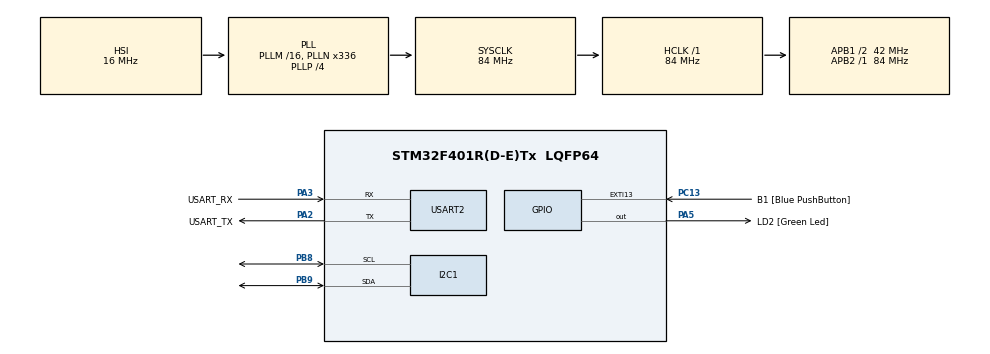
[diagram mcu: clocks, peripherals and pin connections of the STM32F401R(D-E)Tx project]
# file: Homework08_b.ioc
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Dma.I2C1_RX.1.Direction=DMA_PERIPH_TO_MEMORY
Dma.I2C1_RX.1.FIFOMode=DMA_FIFOMODE_DISABLE
Dma.I2C1_RX.1.Instance=DMA1_Stream0
Dma.I2C1_RX.1.MemDataAlignment=DMA_MDATAALIGN_BYTE
Dma.I2C1_RX.1.MemInc=DMA_MINC_ENABLE
Dma.I2C1_RX.1.Mode=DMA_NORMAL
Dma.I2C1_RX.1.PeriphDataAlignment=DMA_PDATAALIGN_BYTE
Dma.I2C1_RX.1.PeriphInc=DMA_PINC_DISABLE
Dma.I2C1_RX.1.Priority=DMA_PRIORITY_LOW
Dma.I2C1_TX.2.Direction=DMA_MEMORY_TO_PERIPH
Dma.I2C1_TX.2.FIFOMode=DMA_FIFOMODE_DISABLE
Dma.I2C1_TX.2.Instance=DMA1_Stream7
Dma.I2C1_TX.2.MemDataAlignment=DMA_MDATAALIGN_BYTE
Dma.I2C1_TX.2.MemInc=DMA_MINC_ENABLE
Dma.I2C1_TX.2.Mode=DMA_NORMAL
Dma.I2C1_TX.2.PeriphDataAlignment=DMA_PDATAALIGN_BYTE
Dma.I2C1_TX.2.PeriphInc=DMA_PINC_DISABLE
Dma.I2C1_TX.2.Priority=DMA_PRIORITY_LOW
Dma.Request0=USART2_TX
Dma.Request1=I2C1_RX
Dma.Request2=I2C1_TX
Dma.USART2_TX.0.Direction=DMA_MEMORY_TO_PERIPH
Dma.USART2_TX.0.FIFOMode=DMA_FIFOMODE_DISABLE
Dma.USART2_TX.0.Instance=DMA1_Stream6
Dma.USART2_TX.0.MemDataAlignment=DMA_MDATAALIGN_BYTE
Dma.USART2_TX.0.MemInc=DMA_MINC_ENABLE
Dma.USART2_TX.0.Mode=DMA_NORMAL
Dma.USART2_TX.0.PeriphDataAlignment=DMA_PDATAALIGN_BYTE
Dma.USART2_TX.0.PeriphInc=DMA_PINC_DISABLE
Dma.USART2_TX.0.Priority=DMA_PRIORITY_LOW
Mcu.Family=STM32F4
Mcu.Name=STM32F401R(D-E)Tx
Mcu.Package=LQFP64
NVIC.DMA1_Stream0_IRQn=true\:0\:0\:false\:false\:true\:false\:true\:true
NVIC.DMA1_Stream6_IRQn=true\:0\:0\:false\:false\:true\:false\:true\:true
NVIC.DMA1_Stream7_IRQn=true\:0\:0\:false\:false\:true\:false\:true\:true
NVIC.I2C1_EV_IRQn=true\:0\:0\:false\:false\:true\:true\:true\:true
NVIC.PriorityGroup=NVIC_PRIORITYGROUP_4
NVIC.TIM3_IRQn=true\:0\:0\:false\:false\:true\:true\:true\:true
NVIC.USART2_IRQn=true\:0\:0\:false\:false\:true\:true\:true\:true
PA13.GPIO_Label=TMS
PA13.Mode=Trace_Asynchronous_SW
PA13.Signal=SYS_JTMS-SWDIO
PA14.GPIO_Label=TCK
PA14.Mode=Trace_Asynchronous_SW
PA14.Signal=SYS_JTCK-SWCLK
PA2.GPIO_Label=USART_TX
PA2.GPIO_Mode=GPIO_MODE_AF_PP
PA2.GPIO_PuPd=GPIO_NOPULL
PA2.GPIO_Speed=GPIO_SPEED_FREQ_LOW
PA2.Mode=Asynchronous
PA2.Signal=USART2_TX
PA3.GPIO_Label=USART_RX
PA3.GPIO_Mode=GPIO_MODE_AF_PP
PA3.GPIO_PuPd=GPIO_NOPULL
PA3.GPIO_Speed=GPIO_SPEED_FREQ_LOW
PA3.Mode=Asynchronous
PA3.Signal=USART2_RX
PA5.GPIO_Label=LD2 [Green Led]
PA5.GPIO_Mode=GPIO_MODE_OUTPUT_PP
PA5.GPIO_PuPd=GPIO_NOPULL
PA5.GPIO_Speed=GPIO_SPEED_FREQ_LOW
PA5.Signal=GPIO_Output
PB3.GPIO_Label=SWO
PB3.Mode=Trace_Asynchronous_SW
PB3.Signal=SYS_JTDO-SWO
PB8.Mode=I2C
PB8.Signal=I2C1_SCL
PB9.Mode=I2C
PB9.Signal=I2C1_SDA
PC13-ANTI_TAMP.GPIO_Label=B1 [Blue PushButton]
PC13-ANTI_TAMP.GPIO_ModeDefaultEXTI=GPIO_MODE_IT_FALLING
PC13-ANTI_TAMP.GPIO_PuPd=GPIO_NOPULL
PC13-ANTI_TAMP.Signal=GPXTI13
PC14-OSC32_IN.Mode=LSE-External-Oscillator
PC14-OSC32_IN.Signal=RCC_OSC32_IN
PC15-OSC32_OUT.Mode=LSE-External-Oscillator
PC15-OSC32_OUT.Signal=RCC_OSC32_OUT
PH0\ -\ OSC_IN.Mode=HSE-External-Clock-Source
PH0\ -\ OSC_IN.Signal=RCC_OSC_IN
PH1\ -\ OSC_OUT.Mode=HSE-External-Clock-Source
PH1\ -\ OSC_OUT.Signal=RCC_OSC_OUT
ProjectManager.HeapSize=0x200
ProjectManager.StackSize=0x400
ProjectManager.TargetToolchain=STM32CubeIDE
RCC.48MHZClocksFreq_Value=48000000
RCC.AHBFreq_Value=84000000
RCC.APB1CLKDivider=RCC_HCLK_DIV2
RCC.APB1Freq_Value=42000000
RCC.APB1TimFreq_Value=84000000
RCC.APB2Freq_Value=84000000
RCC.APB2TimFreq_Value=84000000
RCC.CortexFreq_Value=84000000
RCC.HCLKFreq_Value=84000000
RCC.HSE_VALUE=8000000
RCC.HSI_VALUE=16000000
RCC.PLLN=336
RCC.PLLP=RCC_PLLP_DIV4
RCC.PLLQ=7
RCC.SYSCLKFreq_VALUE=84000000
RCC.SYSCLKSource=RCC_SYSCLKSOURCE_PLLCLK
RCC.VCOOutputFreq_Value=336000000
TIM3.Period=9999
TIM3.Prescaler=8399
TIM3.TIM_MasterOutputTrigger=TIM_TRGO_UPDATE
USART2.VirtualMode=VM_ASYNC
VP_TIM3_VS_ClockSourceINT.Mode=Internal
board=NUCLEO-F401RE

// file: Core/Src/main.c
/* USER CODE BEGIN Header */
/**
  ******************************************************************************
  * @file           : main.c
  * @brief          : Main program body
  ******************************************************************************
  * @attention
  *
  * Copyright (c) 2025 STMicroelectronics.
  * All rights reserved.
  *
  * This software is licensed under terms that can be found in the LICENSE file
  * in the root directory of this software component.
  * If no LICENSE file comes with this software, it is provided AS-IS.
  *
  ******************************************************************************
  */
/* USER CODE END Header */
#include "main.h"

/* USER CODE BEGIN Includes */
#include <stdio.h>
/* USER CODE END Includes */

I2C_HandleTypeDef hi2c1;
DMA_HandleTypeDef hdma_i2c1_rx;
DMA_HandleTypeDef hdma_i2c1_tx;

TIM_HandleTypeDef htim3;

UART_HandleTypeDef huart2;
DMA_HandleTypeDef hdma_usart2_tx;

/* USER CODE BEGIN PV */
struct {
  int8_t x, _x;
  int8_t y, _y;
  int8_t z;
} coord = { 0 };
uint8_t ADDR;

uint8_t ADDR_LIS2DE = 0b01010000;
uint8_t ADDR_LIS2DW = 0b00110000;

// SEE DATASHEET FOR DETAILS
// reg addr, 1 Hz +  XYZ enabled
uint8_t CTRL_REG1[] = {0x20, 0b00010111};
// reg addr, no HPF
uint8_t CTRL_REG2[] = {0x21, 0b00000000};
// reg addr, continuous update + 2g FSR + self test disabled
uint8_t CTRL_REG4[] = {0x23, 0b00000000};

// set base reg + add autoincrement
uint8_t OUT_BASE_ADD_AUTOINCREMENT = 0x29 | (1<<7);

uint8_t OUT_X_ADD = 0x29;
uint8_t OUT_Y_ADD = 0x2B;
uint8_t OUT_Z_ADD = 0x2D;
/* USER CODE END PV */

void SystemClock_Config(void);
static void MX_GPIO_Init(void);
static void MX_DMA_Init(void);
static void MX_USART2_UART_Init(void);
static void MX_I2C1_Init(void);
static void MX_TIM3_Init(void);

/* USER CODE BEGIN 0 */
void HAL_TIM_PeriodElapsedCallback(TIM_HandleTypeDef *htim){
	HAL_I2C_Master_Receive_DMA(&hi2c1, ADDR + 1, (uint8_t *) &coord, sizeof(coord));
}

void HAL_I2C_MasterRxCpltCallback(I2C_HandleTypeDef *hi2c){
	char buf[128] = {0};
	int len = snprintf(buf, sizeof(buf),
				"x: %+.2f g\r\ny: %+.2f g\r\nz: %+.2f g\r\n\r\n",
				coord.x/64.0, coord.y/64.0, coord.z/64.0); // sensitivity at 2g is (1/64=15.6 mg/digit)

	HAL_UART_Transmit_DMA(&huart2, (uint8_t *)buf, len);
}
/* USER CODE END 0 */

int main(void)
{

  /* MCU Configuration--------------------------------------------------------*/

  /* Reset of all peripherals, Initializes the Flash interface and the Systick. */
  HAL_Init();

  /* Configure the system clock */
  SystemClock_Config();

  /* Initialize all configured peripherals */
  MX_GPIO_Init();
  MX_DMA_Init();
  MX_USART2_UART_Init();
  MX_I2C1_Init();
  MX_TIM3_Init();
  /* USER CODE BEGIN 2 */
  // detect sensor
  if (HAL_I2C_Master_Transmit(&hi2c1, ADDR_LIS2DE, CTRL_REG1, sizeof(CTRL_REG1), 10) == HAL_OK) {
	ADDR = ADDR_LIS2DE;
	uint8_t buf[] = "LIS2DE detected\r\n";
	HAL_UART_Transmit_DMA(&huart2, buf, sizeof(buf));
  } else if (HAL_I2C_Master_Transmit(&hi2c1, ADDR_LIS2DW, CTRL_REG1, sizeof(CTRL_REG1), 10) == HAL_OK) {
	ADDR = ADDR_LIS2DW;
	uint8_t buf[] = "LIS2DW detected\r\n";
	HAL_UART_Transmit_DMA(&huart2, buf, sizeof(buf));
  } else {
	uint8_t buf[] = "Error\r\n";
	HAL_UART_Transmit_DMA(&huart2, buf, sizeof(buf));
  }

  // configure the other registers
  HAL_I2C_Master_Transmit(&hi2c1, ADDR, CTRL_REG2, sizeof(CTRL_REG2), 10);
  HAL_I2C_Master_Transmit(&hi2c1, ADDR, CTRL_REG4, sizeof(CTRL_REG4), 10);

  // send start address
  HAL_I2C_Master_Transmit_DMA(&hi2c1, ADDR, &OUT_BASE_ADD_AUTOINCREMENT, 1);

  HAL_TIM_Base_Start_IT(&htim3);
  /* USER CODE END 2 */

  /* Infinite loop */
  while (1)
  {

  }
}

void SystemClock_Config(void)
{
  RCC_OscInitTypeDef RCC_OscInitStruct = {0};
  RCC_ClkInitTypeDef RCC_ClkInitStruct = {0};

  /** Configure the main internal regulator output voltage
  */
  __HAL_RCC_PWR_CLK_ENABLE();
  __HAL_PWR_VOLTAGESCALING_CONFIG(PWR_REGULATOR_VOLTAGE_SCALE2);

  /** Initializes the RCC Oscillators according to the specified parameters
  * in the RCC_OscInitTypeDef structure.
  */
  RCC_OscInitStruct.OscillatorType = RCC_OSCILLATORTYPE_HSI;
  RCC_OscInitStruct.HSIState = RCC_HSI_ON;
  RCC_OscInitStruct.HSICalibrationValue = RCC_HSICALIBRATION_DEFAULT;
  RCC_OscInitStruct.PLL.PLLState = RCC_PLL_ON;
  RCC_OscInitStruct.PLL.PLLSource = RCC_PLLSOURCE_HSI;
  RCC_OscInitStruct.PLL.PLLM = 16;
  RCC_OscInitStruct.PLL.PLLN = 336;
  RCC_OscInitStruct.PLL.PLLP = RCC_PLLP_DIV4;
  RCC_OscInitStruct.PLL.PLLQ = 7;
  if (HAL_RCC_OscConfig(&RCC_OscInitStruct) != HAL_OK)
  {
    Error_Handler();
  }

  /** Initializes the CPU, AHB and APB buses clocks
  */
  RCC_ClkInitStruct.ClockType = RCC_CLOCKTYPE_HCLK|RCC_CLOCKTYPE_SYSCLK
                              |RCC_CLOCKTYPE_PCLK1|RCC_CLOCKTYPE_PCLK2;
  RCC_ClkInitStruct.SYSCLKSource = RCC_SYSCLKSOURCE_PLLCLK;
  RCC_ClkInitStruct.AHBCLKDivider = RCC_SYSCLK_DIV1;
  RCC_ClkInitStruct.APB1CLKDivider = RCC_HCLK_DIV2;
  RCC_ClkInitStruct.APB2CLKDivider = RCC_HCLK_DIV1;

  if (HAL_RCC_ClockConfig(&RCC_ClkInitStruct, FLASH_LATENCY_2) != HAL_OK)
  {
    Error_Handler();
  }
}

static void MX_I2C1_Init(void)
{

  hi2c1.Instance = I2C1;
  hi2c1.Init.ClockSpeed = 100000;
  hi2c1.Init.DutyCycle = I2C_DUTYCYCLE_2;
  hi2c1.Init.OwnAddress1 = 0;
  hi2c1.Init.AddressingMode = I2C_ADDRESSINGMODE_7BIT;
  hi2c1.Init.DualAddressMode = I2C_DUALADDRESS_DISABLE;
  hi2c1.Init.OwnAddress2 = 0;
  hi2c1.Init.GeneralCallMode = I2C_GENERALCALL_DISABLE;
  hi2c1.Init.NoStretchMode = I2C_NOSTRETCH_DISABLE;
  if (HAL_I2C_Init(&hi2c1) != HAL_OK)
  {
    Error_Handler();
  }

}

static void MX_TIM3_Init(void)
{

  TIM_ClockConfigTypeDef sClockSourceConfig = {0};
  TIM_MasterConfigTypeDef sMasterConfig = {0};

  htim3.Instance = TIM3;
  htim3.Init.Prescaler = 8399;
  htim3.Init.CounterMode = TIM_COUNTERMODE_UP;
  htim3.Init.Period = 9999;
  htim3.Init.ClockDivision = TIM_CLOCKDIVISION_DIV1;
  htim3.Init.AutoReloadPreload = TIM_AUTORELOAD_PRELOAD_DISABLE;
  if (HAL_TIM_Base_Init(&htim3) != HAL_OK)
  {
    Error_Handler();
  }
  sClockSourceConfig.ClockSource = TIM_CLOCKSOURCE_INTERNAL;
  if (HAL_TIM_ConfigClockSource(&htim3, &sClockSourceConfig) != HAL_OK)
  {
    Error_Handler();
  }
  sMasterConfig.MasterOutputTrigger = TIM_TRGO_UPDATE;
  sMasterConfig.MasterSlaveMode = TIM_MASTERSLAVEMODE_DISABLE;
  if (HAL_TIMEx_MasterConfigSynchronization(&htim3, &sMasterConfig) != HAL_OK)
  {
    Error_Handler();
  }

}

static void MX_USART2_UART_Init(void)
{

  huart2.Instance = USART2;
  huart2.Init.BaudRate = 115200;
  huart2.Init.WordLength = UART_WORDLENGTH_8B;
  huart2.Init.StopBits = UART_STOPBITS_1;
  huart2.Init.Parity = UART_PARITY_NONE;
  huart2.Init.Mode = UART_MODE_TX_RX;
  huart2.Init.HwFlowCtl = UART_HWCONTROL_NONE;
  huart2.Init.OverSampling = UART_OVERSAMPLING_16;
  if (HAL_UART_Init(&huart2) != HAL_OK)
  {
    Error_Handler();
  }

}

static void MX_DMA_Init(void)
{

  /* DMA controller clock enable */
  __HAL_RCC_DMA1_CLK_ENABLE();

  /* DMA interrupt init */
  /* DMA1_Stream0_IRQn interrupt configuration */
  HAL_NVIC_SetPriority(DMA1_Stream0_IRQn, 0, 0);
  HAL_NVIC_EnableIRQ(DMA1_Stream0_IRQn);
  /* DMA1_Stream6_IRQn interrupt configuration */
  HAL_NVIC_SetPriority(DMA1_Stream6_IRQn, 0, 0);
  HAL_NVIC_EnableIRQ(DMA1_Stream6_IRQn);
  /* DMA1_Stream7_IRQn interrupt configuration */
  HAL_NVIC_SetPriority(DMA1_Stream7_IRQn, 0, 0);
  HAL_NVIC_EnableIRQ(DMA1_Stream7_IRQn);

}

static void MX_GPIO_Init(void)
{
  GPIO_InitTypeDef GPIO_InitStruct = {0};

  /* GPIO Ports Clock Enable */
  __HAL_RCC_GPIOC_CLK_ENABLE();
  __HAL_RCC_GPIOH_CLK_ENABLE();
  __HAL_RCC_GPIOA_CLK_ENABLE();
  __HAL_RCC_GPIOB_CLK_ENABLE();

  /*Configure GPIO pin Output Level */
  HAL_GPIO_WritePin(LD2_GPIO_Port, LD2_Pin, GPIO_PIN_RESET);

  /*Configure GPIO pin : B1_Pin */
  GPIO_InitStruct.Pin = B1_Pin;
  GPIO_InitStruct.Mode = GPIO_MODE_IT_FALLING;
  GPIO_InitStruct.Pull = GPIO_NOPULL;
  HAL_GPIO_Init(B1_GPIO_Port, &GPIO_InitStruct);

  /*Configure GPIO pin : LD2_Pin */
  GPIO_InitStruct.Pin = LD2_Pin;
  GPIO_InitStruct.Mode = GPIO_MODE_OUTPUT_PP;
  GPIO_InitStruct.Pull = GPIO_NOPULL;
  GPIO_InitStruct.Speed = GPIO_SPEED_FREQ_LOW;
  HAL_GPIO_Init(LD2_GPIO_Port, &GPIO_InitStruct);

}

void Error_Handler(void)
{
  __disable_irq();
  while (1)
  {
  }
}
